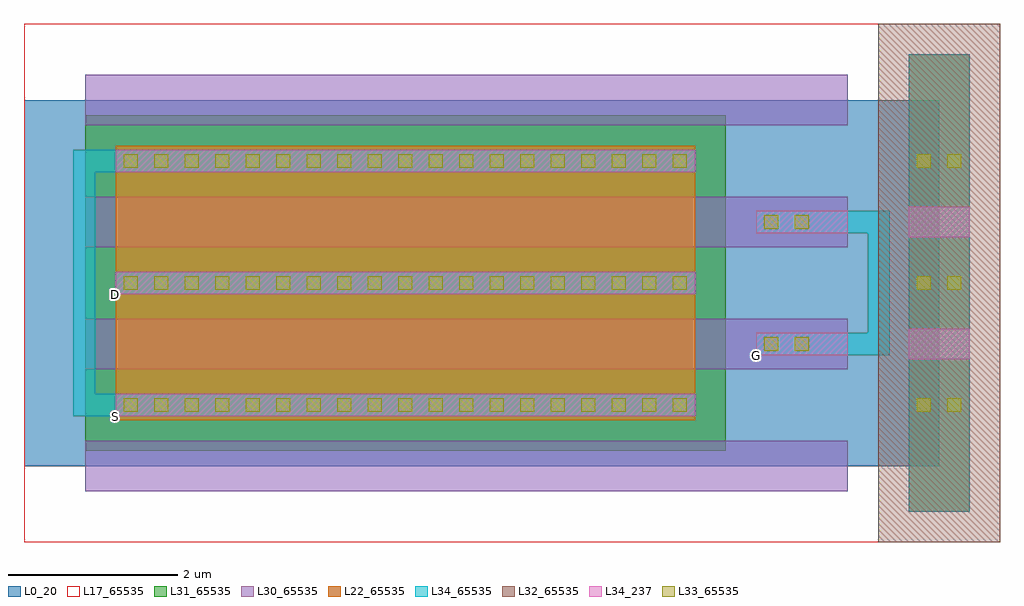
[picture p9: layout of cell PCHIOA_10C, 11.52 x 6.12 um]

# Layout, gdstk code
import gdstk
lib = gdstk.Library(unit=1e-6, precision=1e-09)
def R(c, l, rs):  # rectangles x0, y0, x1, y1
    for r in rs: c.add(gdstk.rectangle(r[:2], r[2:], *l))
def A(c, l, x, y, w, h, nx, ny, dx, dy):  # array of equal rectangles
    R(c, l, [(x+i*dx, y+j*dy, x+i*dx+w, y+j*dy+h) for i in range(nx) for j in range(ny)])
L0_20 = (0, 20)
L17_65535 = (17, 65535)
L22_65535 = (22, 65535)
L30_65535 = (30, 65535)
L31_65535 = (31, 65535)
L32_65535 = (32, 65535)
L33_65535 = (33, 65535)
L34_237 = (34, 237)
L34_65535 = (34, 65535)

pchio_10c = lib.new_cell('PCHIO_10C')
R(pchio_10c, L0_20, [(0,0,10.8,2.88)])
R(pchio_10c, L17_65535, [(0,-0.9,11.52,3.78)])
A(pchio_10c, L22_65535, 10.44, -0.54, 0.72, 0.36, 1, 11, 0, 0.36)
A(pchio_10c, L22_65535, 1.08, 0.54, 6.84, 0.36, 1, 5, 0, 0.36)
A(pchio_10c, L30_65535, 0.72, -0.3, 9, 0.6, 1, 3, 0, 1.44)
R(pchio_10c, L31_65535, [(0.72,0.18,8.28,2.7)])
R(pchio_10c, L32_65535, [(10.08,-0.9,11.52,3.78)])
A(pchio_10c, L33_65535, 1.18, 0.64, 0.16, 0.16, 19, 2, 0.36, 1.44)
R(pchio_10c, L33_65535, [(10.54,0.64,10.7,0.8), (10.9,0.64,11.06,0.8), (8.74,1.36,8.9,1.52), (9.1,1.36,9.26,1.52), (10.54,2.08,10.7,2.24), (10.9,2.08,11.06,2.24)])
R(pchio_10c, L34_237, [(1.08,0.59,7.92,0.85), (10.44,1.26,11.16,1.62), (8.64,1.31,9.72,1.57), (1.08,2.03,7.92,2.29)])
A(pchio_10c, L34_65535, 10.44, -0.54, 0.72, 0.36, 1, 11, 0, 0.36)
R(pchio_10c, L34_65535, [(1.08,0.59,7.92,0.85), (8.64,1.31,9.72,1.57), (1.08,2.03,7.92,2.29)])
pchio_10c.add(gdstk.Label('G', (8.64,1.31), layer=34, texttype=237))
pchio_10c.add(gdstk.Label('S', (1.08,0.59), layer=34, texttype=237))
pchio_10c.add(gdstk.Label('B', (10.44,1.26), layer=34, texttype=237))
pchio_10c.add(gdstk.Label('D', (1.08,2.03), layer=34, texttype=237))

pchioa_10c = lib.new_cell('PCHIOA_10C')
R(pchioa_10c, L0_20, [(0,0,10.8,4.32)])
R(pchioa_10c, L34_237, [(1.08,0.59,7.92,0.85), (8.64,1.31,9.72,1.57), (1.08,2.03,7.92,2.29)])
R(pchioa_10c, L34_65535, [(0.58,0.59,4.5,0.85), (0.58,0.59,0.84,3.73), (9.18,1.31,9.96,1.57), (9.96,1.31,10.22,3.01), (9.18,2.75,9.96,3.01), (0.58,3.47,4.5,3.73)])
pchioa_10c.add(gdstk.Reference(pchio_10c, (0,0)))
pchioa_10c.add(gdstk.Reference(pchio_10c, (0,1.44)))
pchioa_10c.add(gdstk.Label('S', (1.08,0.59), layer=58, texttype=65535))
pchioa_10c.add(gdstk.Label('G', (8.64,1.31), layer=58, texttype=65535))
pchioa_10c.add(gdstk.Label('D', (1.08,2.03), layer=34, texttype=237))
pchioa_10c.add(gdstk.Label('G', (8.64,1.31), layer=34, texttype=237))
pchioa_10c.add(gdstk.Label('S', (1.08,0.59), layer=34, texttype=237))

lib.write_gds('PCHIOA_10C.gds')
